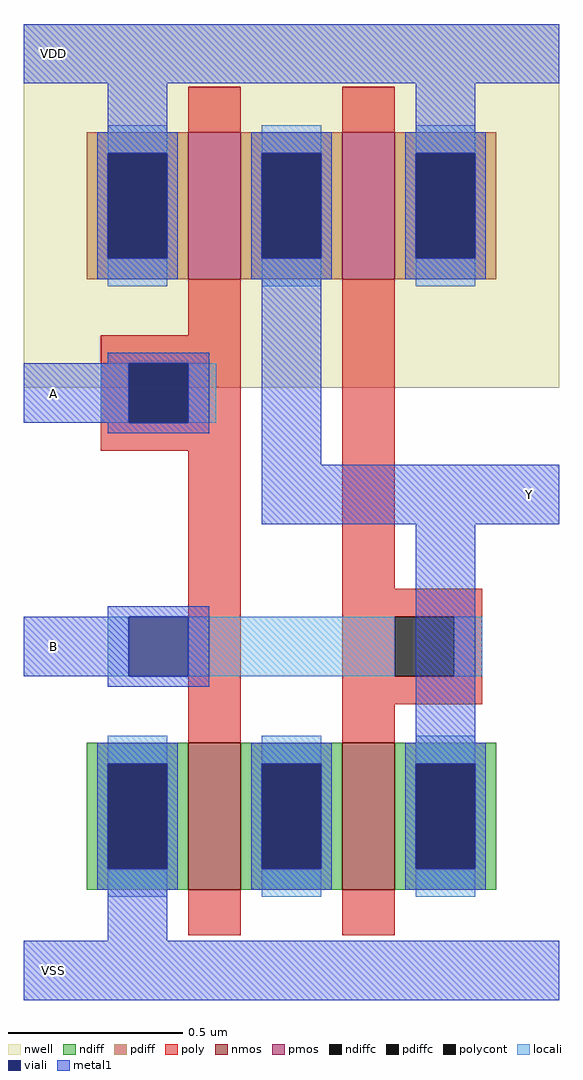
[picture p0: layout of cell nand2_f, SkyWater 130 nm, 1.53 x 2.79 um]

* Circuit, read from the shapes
.subckt nand2_f A B VDD VSS Y
XM1 n1 A VSS VSUBS sky130_fd_pr__nfet_01v8 w=0.42 l=0.15
XM2 Y B n1 VSUBS sky130_fd_pr__nfet_01v8 w=0.42 l=0.15
XM3 Y A VDD n2 sky130_fd_pr__pfet_01v8 w=0.42 l=0.15
XM4 VDD B Y n2 sky130_fd_pr__pfet_01v8 w=0.42 l=0.15
.ends

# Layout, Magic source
magic
tech sky130A
magscale 1 2
<< nwell >>
rect 0 488 306 696
<< nmos >>
rect 94 201 124 285
rect 182 201 212 285
<< pmos >>
rect 94 550 124 634
rect 182 550 212 634
<< ndiff >>
rect 36 273 94 285
rect 36 213 48 273
rect 82 213 94 273
rect 36 201 94 213
rect 124 273 182 285
rect 124 213 136 273
rect 170 213 182 273
rect 124 201 182 213
rect 212 273 270 285
rect 212 213 224 273
rect 258 213 270 273
rect 212 201 270 213
<< pdiff >>
rect 36 622 94 634
rect 36 562 48 622
rect 82 562 94 622
rect 36 550 94 562
rect 124 622 182 634
rect 124 562 136 622
rect 170 562 182 622
rect 124 550 182 562
rect 212 622 270 634
rect 212 562 224 622
rect 258 562 270 622
rect 212 550 270 562
<< ndiffc >>
rect 48 213 82 273
rect 136 213 170 273
rect 224 213 258 273
<< pdiffc >>
rect 48 562 82 622
rect 136 562 170 622
rect 224 562 258 622
<< poly >>
rect 94 634 124 660
rect 182 634 212 660
rect 94 518 124 550
rect 44 502 124 518
rect 44 468 60 502
rect 94 468 124 502
rect 44 452 124 468
rect 94 285 124 452
rect 182 373 212 550
rect 182 357 262 373
rect 182 323 212 357
rect 246 323 262 357
rect 182 307 262 323
rect 182 285 212 307
rect 94 175 124 201
rect 182 175 212 201
<< polycont >>
rect 60 468 94 502
rect 212 323 246 357
<< locali >>
rect 48 622 82 638
rect 48 546 82 562
rect 136 622 170 638
rect 136 546 170 562
rect 224 622 258 638
rect 224 546 258 562
rect 44 468 60 502
rect 94 468 110 502
rect 48 323 60 357
rect 94 323 212 357
rect 246 323 262 357
rect 48 273 82 289
rect 48 197 82 213
rect 136 273 170 289
rect 136 197 170 213
rect 224 273 258 289
rect 224 197 258 213
<< viali >>
rect 48 562 82 622
rect 136 562 170 622
rect 224 562 258 622
rect 60 468 94 502
rect 60 323 94 357
rect 48 213 82 273
rect 136 213 170 273
rect 224 213 258 273
<< metal1 >>
rect 0 662 306 696
rect 48 634 82 662
rect 224 634 258 662
rect 42 622 88 634
rect 42 562 48 622
rect 82 562 88 622
rect 42 550 88 562
rect 130 622 176 634
rect 130 562 136 622
rect 170 562 176 622
rect 130 550 176 562
rect 218 622 264 634
rect 218 562 224 622
rect 258 562 264 622
rect 218 550 264 562
rect 48 502 106 508
rect 0 468 60 502
rect 94 468 106 502
rect 48 462 106 468
rect 136 444 170 550
rect 136 410 306 444
rect 48 357 106 363
rect 0 323 60 357
rect 94 323 106 357
rect 48 317 106 323
rect 224 285 258 410
rect 42 273 88 285
rect 42 213 48 273
rect 82 213 88 273
rect 42 201 88 213
rect 130 273 176 285
rect 130 213 136 273
rect 170 213 176 273
rect 130 201 176 213
rect 218 273 264 285
rect 218 213 224 273
rect 258 213 264 273
rect 218 201 264 213
rect 48 172 82 201
rect 0 138 306 172
<< labels >>
rlabel metal1 0 662 34 696 0 VDD
rlabel metal1 0 468 34 502 0 A
rlabel metal1 0 323 34 357 0 B
rlabel metal1 0 138 34 172 0 VSS
rlabel metal1 272 410 306 444 0 Y
<< end >>
